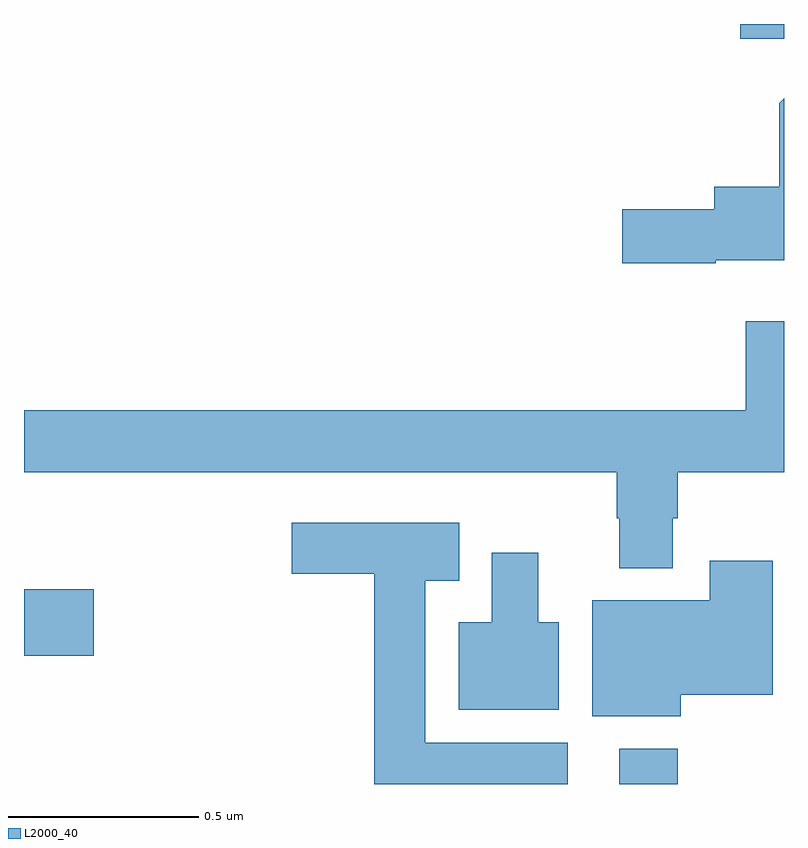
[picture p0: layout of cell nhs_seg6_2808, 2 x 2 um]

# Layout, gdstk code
import gdstk
lib = gdstk.Library(unit=1e-6, precision=1e-09)
def R(c, l, rs):  # rectangles x0, y0, x1, y1
    for r in rs: c.add(gdstk.rectangle(r[:2], r[2:], *l))
def P(c, l, *ps):  # polygons
    for p in ps: c.add(gdstk.Polygon(p, *l))
L2000_40 = (2000, 40)

nhs_seg6_2808 = lib.new_cell('nhs_seg6_2808')
R(nhs_seg6_2808, L2000_40, [(149.567,962.5,149.72,962.593), (148,962.837,148.183,963.012), (149.885,964.461,150,964.5)])
P(nhs_seg6_2808, L2000_40, [(149.82,963.878),(150,963.878),(150,964.304),(149.987,964.291),(149.987,964.072),(149.816,964.072),(149.816,964.013),(149.574,964.013),(149.574,963.871),(149.82,963.871)],
  [(149.707,963.2),(149.72,963.2),(149.72,963.32),(150,963.32),(150,963.718),(149.899,963.718),(149.899,963.484),(148,963.484),(148,963.32),(149.56,963.32),(149.56,963.2),(149.567,963.2),(149.567,963.068),(149.707,963.068)],
  [(149.431,962.608),(149.056,962.608),(149.056,963.035),(149.146,963.035),(149.146,963.187),(148.704,963.187),(148.704,963.053),(148.922,963.053),(148.922,962.5),(149.431,962.5)],
  [(149.407,962.926),(149.353,962.926),(149.353,963.109),(149.231,963.109),(149.231,962.926),(149.144,962.926),(149.144,962.696),(149.407,962.696)],
  [(149.728,962.735),(149.97,962.735),(149.97,963.088),(149.804,963.088),(149.804,962.983),(149.495,962.983),(149.495,962.678),(149.728,962.678)])

lib.write_gds('nhs_seg6_2808.gds')
